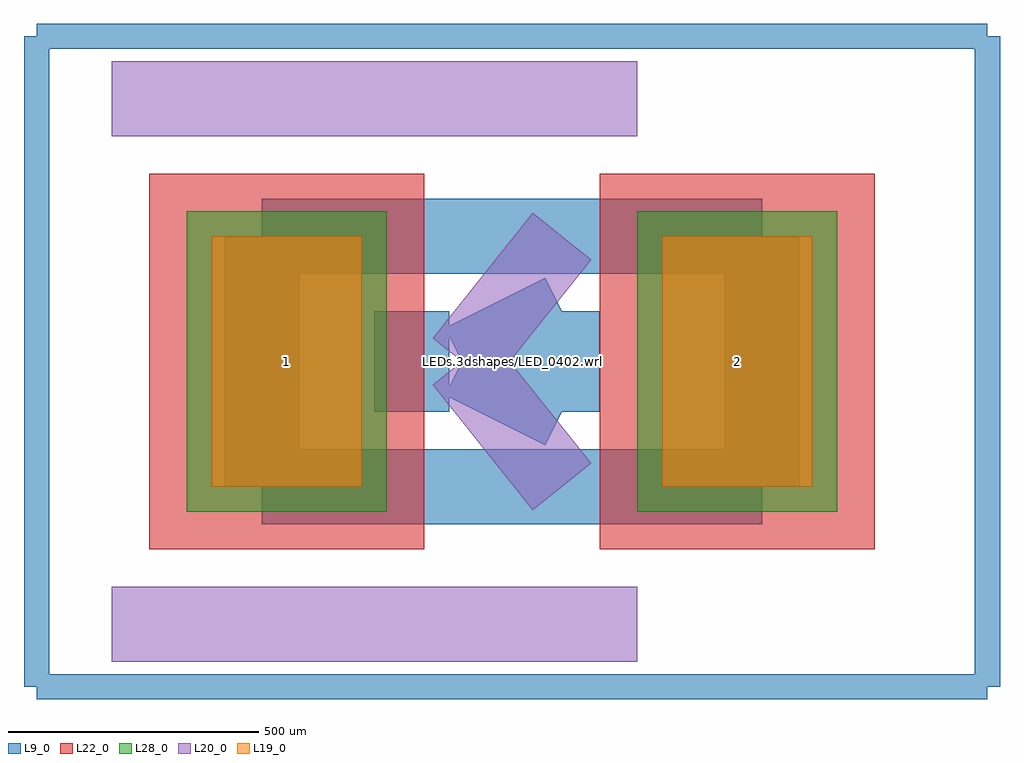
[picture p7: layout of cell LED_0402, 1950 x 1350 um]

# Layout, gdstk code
import gdstk
lib = gdstk.Library(unit=1e-6, precision=1e-09)
def R(c, l, rs):  # rectangles x0, y0, x1, y1
    for r in rs: c.add(gdstk.rectangle(r[:2], r[2:], *l))
L9_0 = (9, 0)
L19_0 = (19, 0)
L20_0 = (20, 0)
L22_0 = (22, 0)
L28_0 = (28, 0)

led_0402 = lib.new_cell('LED_0402')
R(led_0402, L19_0, [(-600,-250,-300,250), (300,-250,600,250)])
R(led_0402, L22_0, [(-725,-375,-175,375), (175,-375,725,375)])
R(led_0402, L28_0, [(-650,-300,-250,300), (250,-300,650,300)])
led_0402.add(gdstk.FlexPath([(250,-525),(-800,-525)], 149.998, ends="flush", simple_path=True, layer=20, datatype=0))  # L20_0
led_0402.add(gdstk.FlexPath([(250,525),(-800,525)], 149.998, ends="flush", simple_path=True, layer=20, datatype=0))  # L20_0
led_0402.add(gdstk.FlexPath([(950,650),(950,-650)], 50, ends="flush", simple_path=True, layer=9, datatype=0))  # L9_0
led_0402.add(gdstk.FlexPath([(-950,650),(-950,-650)], 50, ends="flush", simple_path=True, layer=9, datatype=0))  # L9_0
led_0402.add(gdstk.FlexPath([(-950,-650),(950,-650)], 50, ends="flush", simple_path=True, layer=9, datatype=0))  # L9_0
led_0402.add(gdstk.FlexPath([(-950,650),(950,650)], 50, ends="flush", simple_path=True, layer=9, datatype=0))  # L9_0
led_0402.add(gdstk.FlexPath([(100,250),(-100,0)], 149.998, ends="flush", simple_path=True, layer=20, datatype=0))  # L20_0
led_0402.add(gdstk.FlexPath([(-100,0),(100,-250)], 149.998, ends="flush", simple_path=True, layer=20, datatype=0))  # L20_0
led_0402.add(gdstk.FlexPath([(-500,250),(500,250)], 149.998, ends="flush", simple_path=True, layer=9, datatype=0))  # L9_0
led_0402.add(gdstk.FlexPath([(500,250),(500,-250)], 149.998, ends="flush", simple_path=True, layer=9, datatype=0))  # L9_0
led_0402.add(gdstk.FlexPath([(500,-250),(-500,-250)], 149.998, ends="flush", simple_path=True, layer=9, datatype=0))  # L9_0
led_0402.add(gdstk.FlexPath([(-500,-250),(-500,250)], 149.998, ends="flush", simple_path=True, layer=9, datatype=0))  # L9_0
led_0402.add(gdstk.FlexPath([(100,100),(-100,0)], 149.998, ends="flush", simple_path=True, layer=9, datatype=0))  # L9_0
led_0402.add(gdstk.FlexPath([(-100,0),(100,-100)], 149.998, ends="flush", simple_path=True, layer=9, datatype=0))  # L9_0
led_0402.add(gdstk.FlexPath([(100,-100),(100,100)], 149.998, ends="flush", simple_path=True, layer=9, datatype=0))  # L9_0
led_0402.add(gdstk.FlexPath([(-200,100),(-200,-100)], 149.998, ends="flush", simple_path=True, layer=9, datatype=0))  # L9_0
led_0402.add(gdstk.Label('LEDs.3dshapes/LED_0402.wrl', (0,0), layer=12, texttype=0))
led_0402.add(gdstk.Label('2', (450,0), layer=28, texttype=0))
led_0402.add(gdstk.Label('1', (-450,0), layer=28, texttype=0))
led_0402.add(gdstk.Label('type', (0,-1800), layer=9, texttype=0))
led_0402.add(gdstk.Label('devicename', (0,1800), layer=9, texttype=0))

lib.write_gds('LED_0402.gds')
